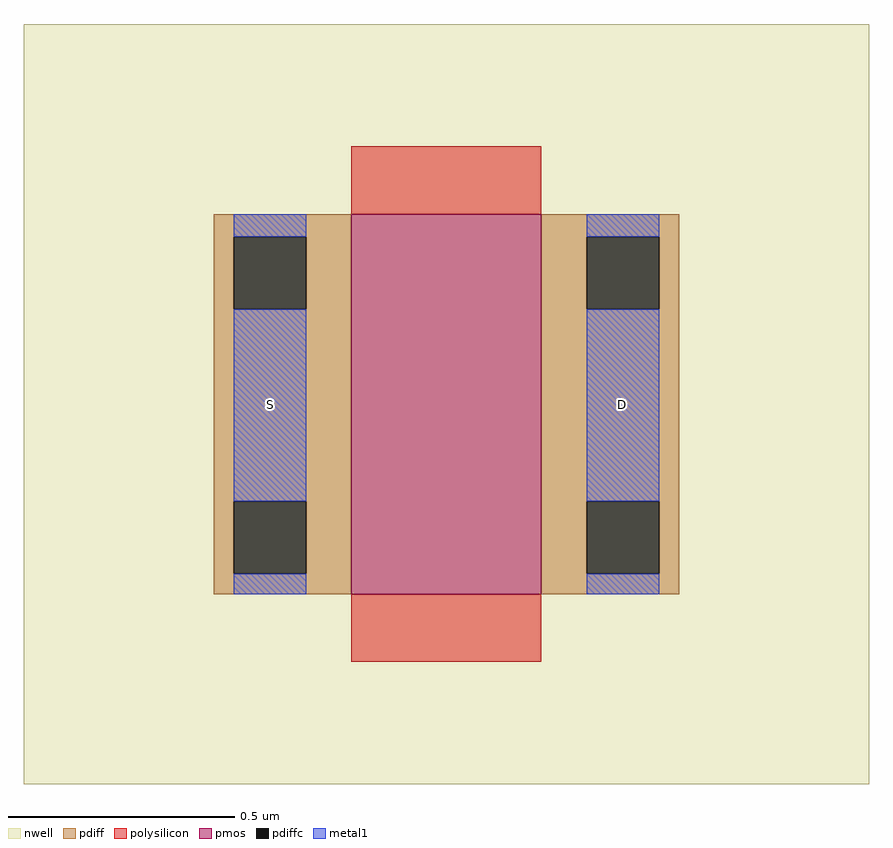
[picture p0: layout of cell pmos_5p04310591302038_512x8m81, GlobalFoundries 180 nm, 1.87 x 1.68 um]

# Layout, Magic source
magic
tech gf180mcuD
magscale 1 10
<< nwell >>
rect -145 -84 229 252
<< pmos >>
rect 0 0 84 168
<< pdiff >>
rect -61 158 0 168
rect -61 126 -52 158
rect -20 126 0 158
rect -61 41 0 126
rect -61 9 -52 41
rect -20 9 0 41
rect -61 0 0 9
rect 84 158 145 168
rect 84 126 104 158
rect 136 126 145 158
rect 84 41 145 126
rect 84 9 104 41
rect 136 9 145 41
rect 84 0 145 9
<< pdiffc >>
rect -52 126 -20 158
rect -52 9 -20 41
rect 104 126 136 158
rect 104 9 136 41
<< polysilicon >>
rect 0 168 84 198
rect 0 -30 84 0
<< metal1 >>
rect -52 158 -20 168
rect -52 41 -20 126
rect -52 0 -20 9
rect 104 158 136 168
rect 104 41 136 126
rect 104 0 136 9
<< labels >>
flabel metal1 -36 84 -36 84 0 FreeSans 280 0 0 0 S
flabel metal1 120 84 120 84 0 FreeSans 280 0 0 0 D
<< end >>
